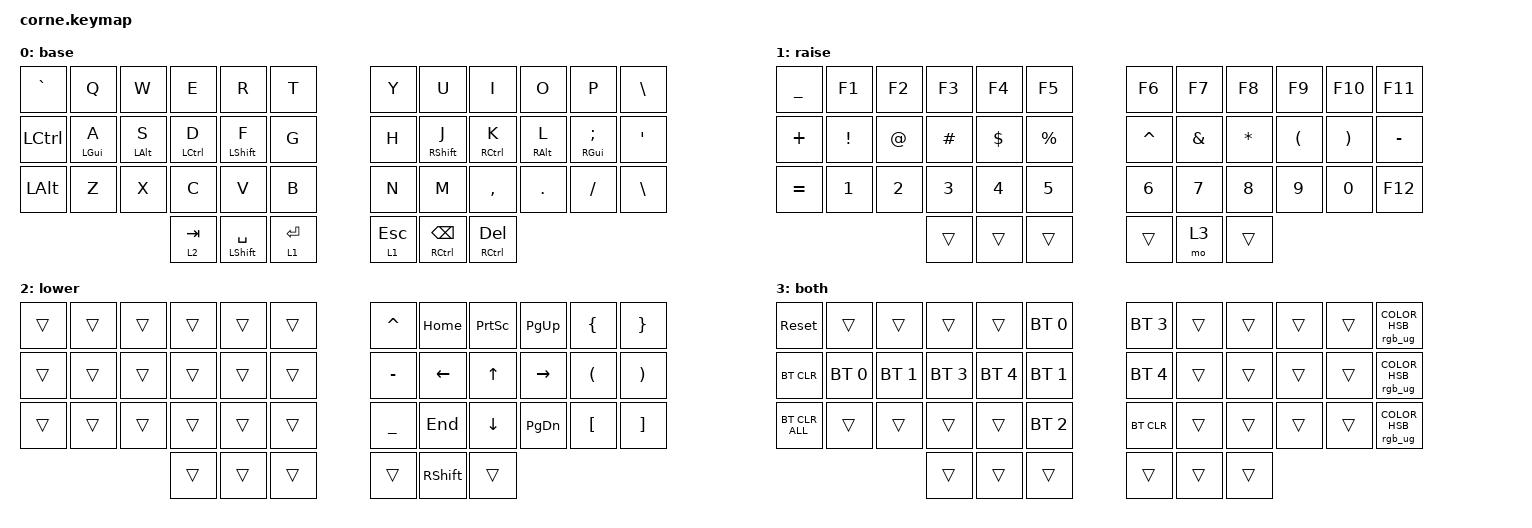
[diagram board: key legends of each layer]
/*
 * Copyright (c) 2020 The ZMK Contributors
 *
 * SPDX-License-Identifier: MIT
 */

#include <behaviors.dtsi>
#include <dt-bindings/zmk/bt.h>
#include <dt-bindings/zmk/keys.h>
#include <dt-bindings/zmk/rgb.h>

// dt-formatter: indent = "  "
// dt-formatter: reindentMultilineIntegerCells = "dedent"

/ {
  behaviors {
    hm: homerow_mods {
      compatible = "zmk,behavior-hold-tap";
      label = "HOMEROW_MODS";
      #binding-cells = <2>;
      tapping-term-ms = <150>;
      quick-tap-ms = <0>;
      flavor = "tap-preferred";
      bindings = <&kp>, <&kp>;
    };
  };

  combos {
    compatible = "zmk,combos";

    tab {
      bindings = <&trans>;
      key-positions = <2 3>;
    };

    ctrl {
      bindings = <&kp LCTRL>;
      key-positions = <26 27>;
    };

    cmd {
      bindings = <&kp LCMD>;
      key-positions = <37 38>;
    };

    alt {
      bindings = <&kp LEFT_ALT>;
      key-positions = <39 40>;
    };

    shift {
      bindings = <&kp LSHIFT>;
      key-positions = <8 9>;
    };

    caps_word {
      bindings = <&caps_word>;
      key-positions = <17 18>;
    };

    delete {
      bindings = <&kp DEL>;
      key-positions = <32 33>;
    };
  };

  macros {
    zed_em_kay: zed_em_kay {
      compatible = "zmk,behavior-macro";
      label = "ZM_zed_em_kay";
      #binding-cells = <0>;
      bindings =
        <&macro_press>,
        <&kp LSHFT>,
        <&macro_tap>,
        <&kp Z &kp M &kp K>,
        <&macro_release>,
        <&kp LSHFT>;
    };
  };

  keymap {
    compatible = "zmk,keymap";

    base {
      bindings = <
&kp GRAVE     &kp Q       &kp W       &kp E        &kp R                 &kp T          &kp Y         &kp U                &kp I          &kp O       &kp P          &kp BSLH
&kp LCTRL     &hm LGUI A  &hm LALT S  &hm LCTRL D  &hm LSHIFT F          &kp G          &kp H         &hm RSHIFT J         &hm RCTRL K    &hm RALT L  &hm RGUI SEMI  &kp APOS
&kp LEFT_ALT  &kp Z       &kp X       &kp C        &kp V                 &kp B          &kp N         &kp M                &kp COMMA      &kp DOT     &kp FSLH       &kp BACKSLASH
                                      &lt 2 TAB    &mt LEFT_SHIFT SPACE  &lt 1 ENTER    &lt 1 ESCAPE  &mt RCTRL BACKSPACE  &mt RCTRL DEL
      >;
    };

    raise {
      bindings = <
&kp UNDERSCORE  &kp F1           &kp F2        &kp F3        &kp F4        &kp F5         &kp F6        &kp F7         &kp F8        &kp F9                &kp F10                &kp F11
&kp PLUS        &kp EXCLAMATION  &kp AT_SIGN   &kp HASH      &kp DOLLAR    &kp PERCENT    &kp CARET     &kp AMPERSAND  &kp ASTERISK  &kp LEFT_PARENTHESIS  &kp RIGHT_PARENTHESIS  &kp MINUS
&kp EQUAL       &kp NUMBER_1     &kp NUMBER_2  &kp NUMBER_3  &kp NUMBER_4  &kp N5         &kp NUMBER_6  &kp N7         &kp N8        &kp N9                &kp N0                 &kp F12
                                               &trans        &trans        &trans         &trans        &mo 3          &trans
      >;
    };

    lower {
      bindings = <
&trans  &trans  &trans  &trans  &trans  &trans    &kp CARET  &kp HOME         &kp PRINTSCREEN  &kp PAGE_UP      &kp LEFT_BRACE        &kp RIGHT_BRACE
&trans  &trans  &trans  &trans  &trans  &trans    &kp MINUS  &kp LEFT_ARROW   &kp UP_ARROW     &kp RIGHT_ARROW  &kp LEFT_PARENTHESIS  &kp RIGHT_PARENTHESIS
&trans  &trans  &trans  &trans  &trans  &trans    &kp UNDER  &kp END          &kp DOWN_ARROW   &kp PAGE_DOWN    &kp LEFT_BRACKET      &kp RIGHT_BRACKET
                        &trans  &trans  &trans    &trans     &kp RIGHT_SHIFT  &trans
      >;
    };

    both {
      bindings = <
&sys_reset      &trans        &trans        &trans        &trans        &bt BT_SEL 0    &bt BT_SEL 3  &trans  &trans  &trans  &trans  &rgb_ug RGB_COLOR_HSB(0,60,50)
&bt BT_CLR      &bt BT_SEL 0  &bt BT_SEL 1  &bt BT_SEL 3  &bt BT_SEL 4  &bt BT_SEL 1    &bt BT_SEL 4  &trans  &trans  &trans  &trans  &rgb_ug RGB_COLOR_HSB(120,60,50)
&bt BT_CLR_ALL  &trans        &trans        &trans        &trans        &bt BT_SEL 2    &bt BT_CLR    &trans  &trans  &trans  &trans  &rgb_ug RGB_COLOR_HSB(240,60,50)
                                            &trans        &trans        &trans          &trans        &trans  &trans
      >;
    };
  };

  conditional_layers {
    compatible = "zmk,conditional-layers";

    Both {
      if-layers = <1 2>;
      then-layer = <3>;
    };
  };
};
